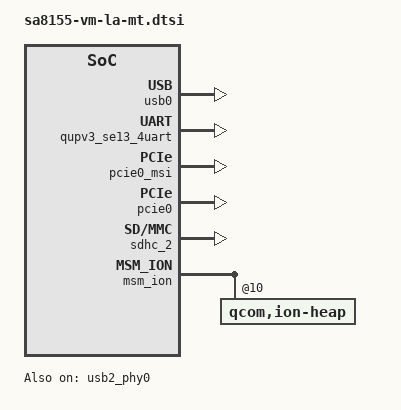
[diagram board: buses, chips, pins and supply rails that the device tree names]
&reserved_memory {
	pmem_shared: pmem_shared_region {
		reg = <0x1 0x2c200000 0x0 0x53e00000>;
		label = "pmem_shared_mem";
	};

	secure_display_memory: secure_display_region {
		compatible = "shared-dma-pool";
		alloc-ranges = <0x0 0x00000000 0x0 0xffffffff>;
		reusable;
		alignment = <0x0 0x400000>;
		size = <0x0 0x0a000000>;
	};
};

#include "display/quin-vm-display-la.dtsi"

/ {
	rename_devices: rename_devices {
		compatible = "qcom,rename-devices";
		rename_blk: rename_blk {
			device-type = "block";
			actual-dev = "vda", "vdb", "vdc",
					"vdd", "vde", "vdf",
					"vdg", "vdh", "vdi",
					"vdj", "vdk", "vdl";
			rename-dev = "system", "userdata", "vendor",
					"persist", "modem", "bluetooth",
					"misc", "vbmeta", "boot", "dtbo",
					"dsp";
			rename-dev-ab = "super", "userdata", "metadata",
					"persist", "modem_a", "bluetooth_a",
					"misc", "vbmeta_a", "vbmeta_b",
					"boot_a", "dtbo_a", "dsp_a";
		};
	};

	chosen {
		bootargs = "rcupdate.rcu_expedited=1 rcu_nocbs=0-7 cgroup.memory=nokmem,nosocket androidboot.usbcontroller=a600000.dwc3 androidboot.fstab_suffix=gen3.qcom";
	};
};

&usb0 {
	status = "ok";
};

&usb2_phy0 {
	status = "ok";
};

&qupv3_se13_4uart {
	status = "ok";
};

&pcie0_msi {
	status = "ok";
};

&pcie0 {
	status = "ok";
};

&sdhc_2 {
	status = "ok";
};

&msm_ion {
	qcom,ion-heap@10 {
		reg = <ION_SECURE_DISPLAY_HEAP_ID>;
		memory-region = <&secure_display_memory>;
		qcom,ion-heap-type = "HYP_CMA";
	};
};
